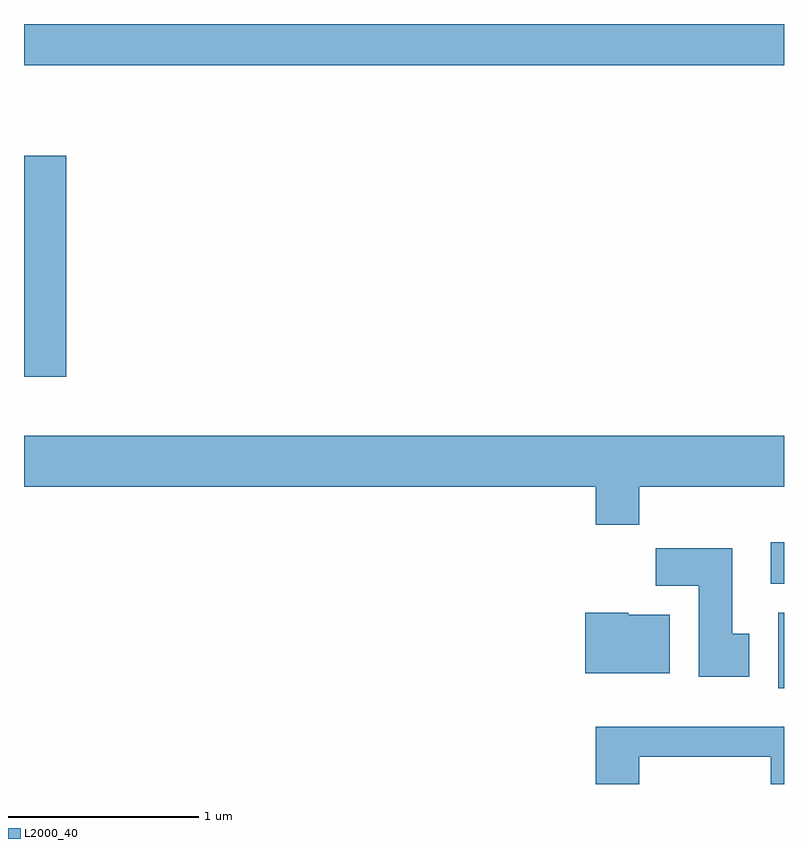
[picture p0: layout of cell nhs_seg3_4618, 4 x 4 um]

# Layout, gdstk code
import gdstk
lib = gdstk.Library(unit=1e-6, precision=1e-09)
def R(c, l, rs):  # rectangles x0, y0, x1, y1
    for r in rs: c.add(gdstk.rectangle(r[:2], r[2:], *l))
def P(c, l, *ps):  # polygons
    for p in ps: c.add(gdstk.Polygon(p, *l))
L2000_40 = (2000, 40)

nhs_seg3_4618 = lib.new_cell('nhs_seg3_4618')
R(nhs_seg3_4618, L2000_40, [(323.581,1240.396,323.611,1240.794), (323.541,1240.946,323.611,1241.164), (319.611,1242.036,319.834,1243.199), (319.611,1243.676,323.611,1243.892)])
P(nhs_seg3_4618, L2000_40, [(322.849,1241.456),(323.611,1241.456),(323.611,1241.724),(319.611,1241.724),(319.611,1241.456),(322.621,1241.456),(322.621,1241.256),(322.849,1241.256)],
  [(323.429,1240.684),(323.339,1240.684),(323.339,1241.134),(322.936,1241.134),(322.936,1240.936),(323.161,1240.936),(323.161,1240.456),(323.429,1240.456)],
  [(323.009,1240.784),(322.79,1240.784),(322.79,1240.794),(322.566,1240.794),(322.566,1240.476),(323.009,1240.476)],
  [(322.849,1240.036),(323.541,1240.036),(323.541,1239.892),(323.611,1239.892),(323.611,1240.194),(322.621,1240.194),(322.621,1239.892),(322.849,1239.892)])

lib.write_gds('nhs_seg3_4618.gds')
